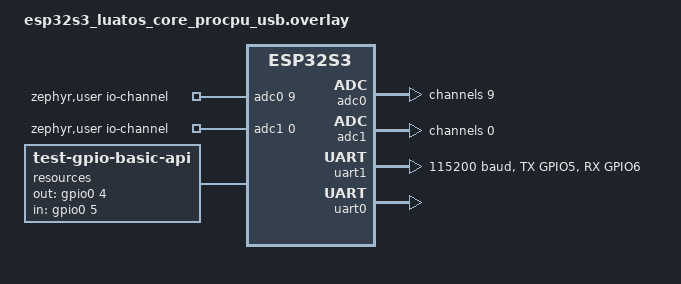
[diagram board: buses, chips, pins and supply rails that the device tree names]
/*
 * Copyright (c) 2023 Espressif Systems (Shanghai) Co., Ltd.
 *
 * SPDX-License-Identifier: Apache-2.0
 */

&dma {
	status = "okay";
};

tst_dma0: &dma {};

/ {
	zephyr,user {
		io-channels = <&adc0 9>, <&adc1 0>;
	};
};

&adc0 {
	status = "okay";
	#address-cells = <1>;
	#size-cells = <0>;
	channel@9 {
		reg = <9>;
		zephyr,gain = "ADC_GAIN_1_4";
		zephyr,reference = "ADC_REF_INTERNAL";
		zephyr,acquisition-time = <ADC_ACQ_TIME_DEFAULT>;
		zephyr,resolution = <12>;
	};
};

&adc1 {
	status = "okay";
	#address-cells = <1>;
	#size-cells = <0>;
	channel@0 {
		reg = <0>;
		zephyr,gain = "ADC_GAIN_1_4";
		zephyr,reference = "ADC_REF_INTERNAL";
		zephyr,acquisition-time = <ADC_ACQ_TIME_DEFAULT>;
		zephyr,resolution = <12>;
	};
};

/ {
	resources {
		compatible = "test-gpio-basic-api";
		out-gpios = <&gpio0 4 0>;
		in-gpios = <&gpio0 5 0>;
	};
};

&pinctrl {
	uart1_test: uart1_test {
		group1 {
			pinmux = <UART1_TX_GPIO5>;
		};
		group2 {
			pinmux = <UART1_RX_GPIO6>;
			bias-pull-up;
		};
	};
};

dut: &uart1 {
	status = "okay";
	current-speed = <115200>;
	pinctrl-0 = <&uart1_test>;
	pinctrl-names = "default";
	dmas = <&dma 0>, <&dma 1>;
	dma-names = "rx", "tx";
};

&uart0 {
	status = "okay";
};
